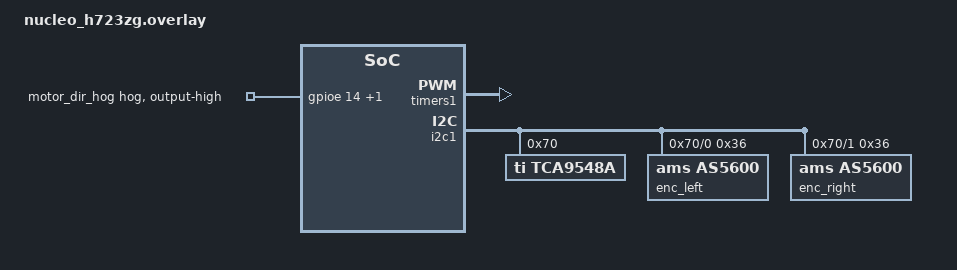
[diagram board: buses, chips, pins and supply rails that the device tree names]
#include <zephyr/dt-bindings/gpio/gpio.h>

&gpioe {
	motor_dir_hog {
		gpio-hog;
		gpios = <14 GPIO_ACTIVE_HIGH>, <13 GPIO_ACTIVE_LOW>;
		output-high;
	};
};

&timers1 {
	st,prescaler = <20>;
	status = "okay";

	pwm1: pwm {
		status = "okay";
		pinctrl-0 = <&tim1_ch1_pe9 &tim1_ch2_pe11>;
		pinctrl-names = "default";
	};
};

&i2c1 {
	tca9548a: tca9548a@70 {
		compatible = "ti,tca9548a";
		reg = <0x70>;
		#address-cells = <1>;
		#size-cells = <0>;

		i2c_mux0: i2c@0 {
			reg = <0>;
			#address-cells = <1>;
			#size-cells = <0>;
			enc_left: as5600@36 { compatible = "ams,as5600"; reg = <0x36>; };
		};
		i2c_mux1: i2c@1 {
			reg = <1>;
			#address-cells = <1>;
			#size-cells = <0>;
			enc_right: as5600@36 { compatible = "ams,as5600"; reg = <0x36>; };
		};
		i2c_mux2: i2c@2 { reg = <2>; #address-cells = <1>; #size-cells = <0>; };
		i2c_mux3: i2c@3 { reg = <3>; #address-cells = <1>; #size-cells = <0>; };
		i2c_mux4: i2c@4 { reg = <4>; #address-cells = <1>; #size-cells = <0>; };
		i2c_mux5: i2c@5 { reg = <5>; #address-cells = <1>; #size-cells = <0>; };
		i2c_mux6: i2c@6 { reg = <6>; #address-cells = <1>; #size-cells = <0>; };
		i2c_mux7: i2c@7 { reg = <7>; #address-cells = <1>; #size-cells = <0>; };
	};
};

/*
/ {
	hc_sr04: hc-sr04 {
		compatible = "hc-sr04";
		trigger-gpios = <&gpiog 14 GPIO_ACTIVE_HIGH>;
		echo-gpios = <&gpiog 12 GPIO_ACTIVE_HIGH>;
	};
};
*/
